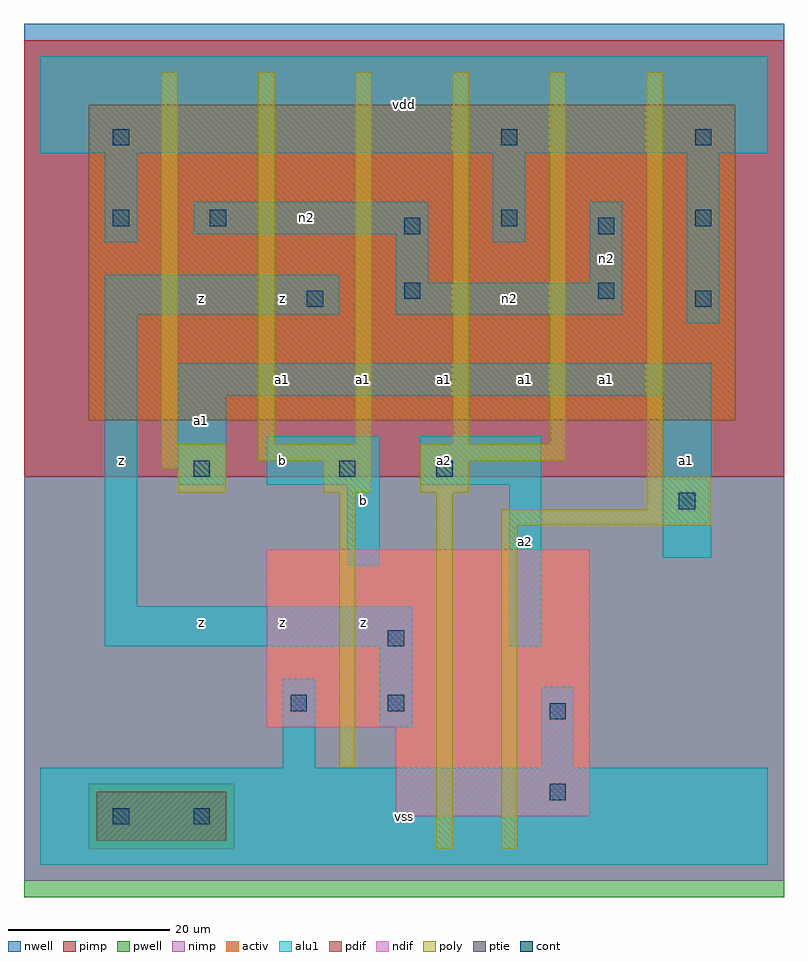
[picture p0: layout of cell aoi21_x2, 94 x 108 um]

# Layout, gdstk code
import gdstk
lib = gdstk.Library(unit=1e-6, precision=1e-09)
def R(c, l, rs):  # rectangles x0, y0, x1, y1
    for r in rs: c.add(gdstk.rectangle(r[:2], r[2:], *l))
def A(c, l, x, y, w, h, nx, ny, dx, dy):  # array of equal rectangles
    R(c, l, [(x+i*dx, y+j*dy, x+i*dx+w, y+j*dy+h) for i in range(nx) for j in range(ny)])
ndif = (3, 0)
pdif = (4, 0)
ptie = (6, 0)
cont = (25, 0)
pwell = (41, 0)
nwell = (42, 0)
activ = (43, 0)
pimp = (44, 0)
nimp = (45, 0)
poly = (46, 0)
alu1 = (49, 0)

aoi21_x2 = lib.new_cell('aoi21_x2')
R(aoi21_x2, ndif, [(44,6,68,17), (28,17,68,39)])
R(aoi21_x2, pdif, [(6,55,86,94)])
R(aoi21_x2, ptie, [(7,3,23,9)])
A(aoi21_x2, cont, 81, 69, 2, 2, 1, 3, 0, 10)
R(aoi21_x2, cont, [(9,5,11,7), (19,5,21,7), (63,8,65,10), (63,18,65,20), (31,19,33,21), (43,19,45,21), (43,27,45,29), (79,44,81,46), (19,48,21,50), (37,48,39,50), (49,48,51,50), (33,69,35,71), (45,70,47,72), (69,70,71,72), (45,78,47,80), (69,78,71,80), (9,79,11,81), (21,79,23,81), (57,79,59,81), (9,89,11,91), (57,89,59,91)])
R(aoi21_x2, pwell, [(-2,-4,92,48)])
R(aoi21_x2, nwell, [(-2,48,92,104)])
R(aoi21_x2, activ, [(7,3,23,9), (44,6,68,17), (28,17,68,39), (6,55,86,94)])
R(aoi21_x2, pimp, [(6,2,24,10), (-2,48,92,102)])
R(aoi21_x2, nimp, [(-2,-2,92,2), (-2,2,6,10), (24,2,92,10), (-2,10,92,48)])
A(aoi21_x2, poly, 15, 52, 2, 46, 5, 1, 12, 0)
R(aoi21_x2, poly, [(49,2,51,46), (57,2,59,42), (37,12,39,46), (57,42,83,44), (75,44,83,48), (17,46,23,49), (35,46,41,50), (47,46,53,50), (75,48,77,98), (15,49,23,52), (27,50,41,52), (47,50,65,52)])
R(aoi21_x2, alu1, [(0,0,90,12), (30,12,34,23), (62,12,66,22), (42,17,46,27), (8,27,46,32), (58,27,62,47), (8,32,12,68), (38,37,42,47), (77,38,83,58), (17,47,23,58), (28,47,42,53), (47,47,62,53), (17,58,83,62), (80,67,84,88), (8,68,37,73), (44,68,72,72), (44,72,48,78), (68,72,72,82), (8,77,12,88), (56,77,60,88), (19,78,48,82), (0,88,90,100)])
aoi21_x2.add(gdstk.Label('z', (10,50), layer=49, texttype=0))
aoi21_x2.add(gdstk.Label('z', (20,30), layer=49, texttype=0))
aoi21_x2.add(gdstk.Label('z', (30,30), layer=49, texttype=0))
aoi21_x2.add(gdstk.Label('a1', (20,55), layer=49, texttype=0))
aoi21_x2.add(gdstk.Label('b', (30,50), layer=49, texttype=0))
aoi21_x2.add(gdstk.Label('a1', (30,60), layer=49, texttype=0))
aoi21_x2.add(gdstk.Label('z', (20,70), layer=49, texttype=0))
aoi21_x2.add(gdstk.Label('z', (30,70), layer=49, texttype=0))
aoi21_x2.add(gdstk.Label('vss', (45,6), layer=49, texttype=0))
aoi21_x2.add(gdstk.Label('z', (40,30), layer=49, texttype=0))
aoi21_x2.add(gdstk.Label('a2', (50,50), layer=49, texttype=0))
aoi21_x2.add(gdstk.Label('b', (40,45), layer=49, texttype=0))
aoi21_x2.add(gdstk.Label('a1', (40,60), layer=49, texttype=0))
aoi21_x2.add(gdstk.Label('a1', (50,60), layer=49, texttype=0))
aoi21_x2.add(gdstk.Label('n2', (33,80), layer=49, texttype=0))
aoi21_x2.add(gdstk.Label('vdd', (45,94), layer=49, texttype=0))
aoi21_x2.add(gdstk.Label('a2', (60,40), layer=49, texttype=0))
aoi21_x2.add(gdstk.Label('a1', (60,60), layer=49, texttype=0))
aoi21_x2.add(gdstk.Label('a1', (70,60), layer=49, texttype=0))
aoi21_x2.add(gdstk.Label('n2', (58,70), layer=49, texttype=0))
aoi21_x2.add(gdstk.Label('n2', (70,75), layer=49, texttype=0))
aoi21_x2.add(gdstk.Label('a1', (80,50), layer=49, texttype=0))

lib.write_gds('aoi21_x2.gds')
